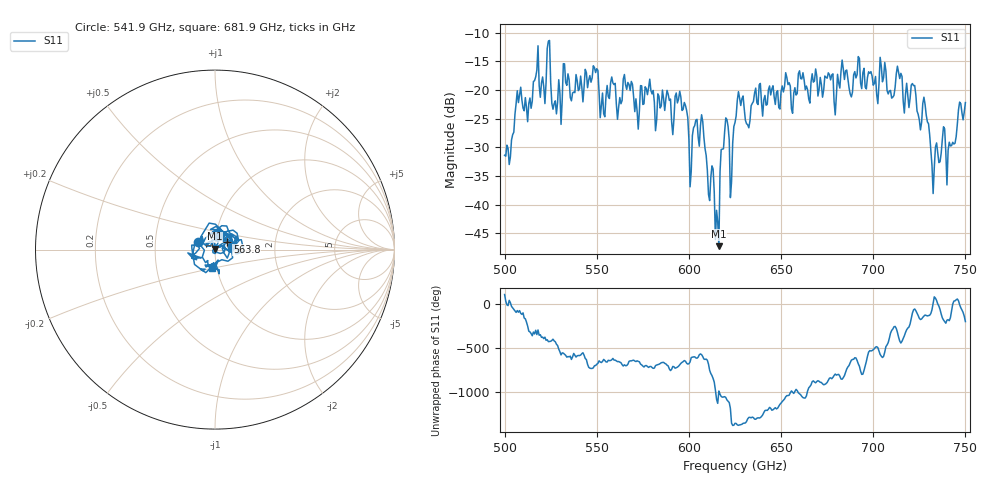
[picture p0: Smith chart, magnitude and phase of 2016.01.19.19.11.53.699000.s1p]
!Created with skrf (http://scikit-rf.org).
# GHz S RI R 50.0
!freq ReS11 ImS11
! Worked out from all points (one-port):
!   401 points, 500 GHz to 750 GHz, reference 50 ohm
!   lowest |S11| = -47.3 dB at 616.2 GHz (marker M1), VSWR 1.01, Z = 50 + j0.432 ohm
!   |S11| at or under -10 dB: start of sweep to end of sweep
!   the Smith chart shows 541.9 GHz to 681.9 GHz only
!   S11 on the Smith chart (normalised r, x): 541.9 GHz: 0.82, +0.07; 563.8 GHz: 1.14, +0.10; 681.9 GHz: 0.95, -0.20
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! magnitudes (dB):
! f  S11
! 500 GHz  -31.4
! 516.9 GHz  -17.7
! 520.6 GHz  -17.7
! 523.8 GHz  -11.5
! 526.9 GHz  -22.4
! 531.2 GHz  -21.8
! 541.9 GHz  -19.5
! 549.4 GHz  -17.0
! 553.1 GHz  -20.6
! 558.8 GHz  -18.8
! 562.5 GHz  -21.3
! 563.8 GHz  -21.8
! 593.8 GHz  -22.3
! 601.2 GHz  -34.2
! 607.5 GHz  -25.5
! 615 GHz  -41.0
! 616.2 GHz  -47.3
! 619.4 GHz  -27.3
! 623.1 GHz  -36.1
! 625 GHz  -25.7
! 656.2 GHz  -24.1
! 681.9 GHz  -19.7
! 687.5 GHz  -20.7
! 705 GHz  -18.6
! 718.8 GHz  -21.1
! 728.1 GHz  -22.5
! 732.5 GHz  -38.1
! 750 GHz  -22.2
